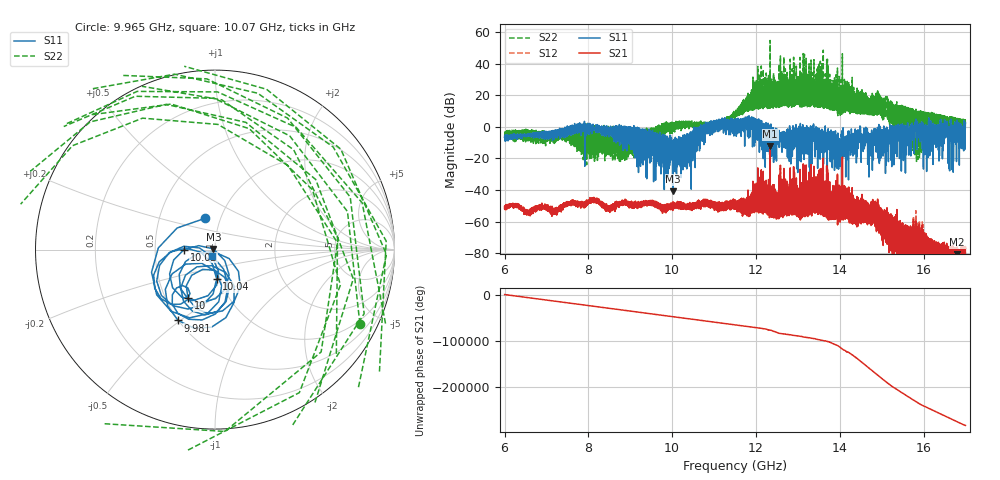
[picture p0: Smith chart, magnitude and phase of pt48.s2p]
#  HZ  S  RI  R  50.00
! Rohde & Schwarz Vector Network Analyzer
! Rohde-Schwarz,ZNA67-2Port,1332450062101215,3.01
! Created: UTC 10/16/2026, 9:36:59 AM
! freq[Hz]  re:S11  im:S11  re:S21  im:S21  re:S12  im:S12  re:S22  im:S22
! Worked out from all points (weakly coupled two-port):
!   11001 points, 6 GHz to 17 GHz, reference 50 ohm
!   highest |S21| = -12.24 dB at 12.34 GHz (marker M1); lowest = -90.5 dB at 16.8 GHz (marker M2)
!   lowest |S11| = -40.8 dB at 10.02 GHz (marker M3), VSWR 1.02, Z = 49.2 + j0.363 ohm
!   |S11| at or under -10 dB: 10.00672 GHz to 10.02695 GHz (20.23 MHz wide, 0.202 % of centre); 10.16091 GHz to 10.18743 GHz (26.51 MHz wide, 0.261 % of centre); 14.3875 GHz to 14.40964 GHz (22.14 MHz wide, 0.154 % of centre) (the widest 3 of 391)
!   |S22| runs from -23.9 to 54.6 dB; largest |S21 - S12| = 0.0082
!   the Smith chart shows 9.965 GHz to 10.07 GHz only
!   S11 on the Smith chart (normalised r, x): 9.965 GHz: 0.84, +0.30; 9.981 GHz: 0.50, -0.49; 10 GHz: 0.65, -0.39; 10.02 GHz: 0.71, +0.00; 10.04 GHz: 0.97, -0.32; 10.07 GHz: 0.97, -0.07
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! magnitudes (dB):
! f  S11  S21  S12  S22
! 6 GHz  -6.6  -50.4  -50.4  -6.6
! 7.834 GHz  0.8  -48.3  -48.3  -6.1
! 9.667 GHz  -5.0  -51.7  -52.0  -2.1
! 9.965 GHz  -14.8  -49.3  -49.5  -0.9
! 9.981 GHz  -7.0  -50.7  -50.8  0.2
! 10 GHz  -10.2  -49.8  -49.9  -3.1
! 10.02 GHz  -40.8  -49.8  -49.9  1.9
! 10.02 GHz  -15.3  -49.4  -49.3  -2.1
! 10.04 GHz  -15.7  -49.3  -49.5  3.7
! 10.07 GHz  -28.3  -48.5  -48.5  2.2
! 10.84 GHz  -4.0  -48.5  -48.5  1.3
! 11.5 GHz  4.7  -50.4  -50.5  7.2
! 12.34 GHz  -10.3  -12.2  -12.5  54.6
! 13.33 GHz  -23.3  -50.5  -50.3  16.9
! 13.97 GHz  -8.0  -55.6  -55.4  11.1
! 14.79 GHz  -10.4  -58.7  -58.4  7.3
! 15.17 GHz  -3.4  -71.7  -71.5  5.3
! 15.68 GHz  -1.5  -67.3  -66.9  11.3
! 15.85 GHz  -7.7  -82.6  -80.4  -11.1
! 16.05 GHz  -0.9  -81.7  -81.8  -3.2
! 16.8 GHz  4.2  -90.5  -91.7  -2.1
! 17 GHz  2.8  -80.3  -79.8  2.0
